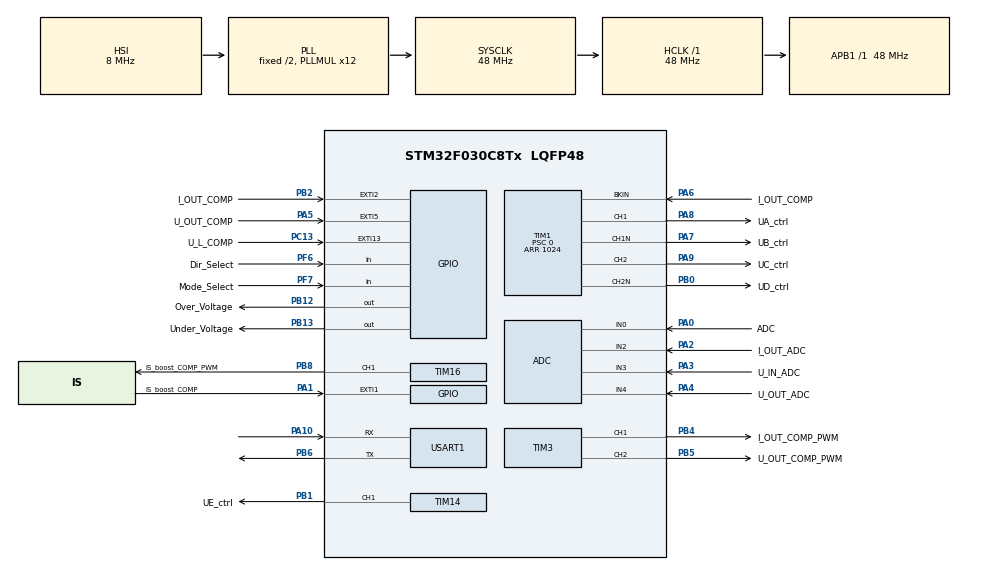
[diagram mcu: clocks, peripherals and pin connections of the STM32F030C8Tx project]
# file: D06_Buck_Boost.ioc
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ADC.ClockPrescaler=ADC_CLOCK_ASYNC_DIV1
ADC.ContinuousConvMode=ENABLE
ADC.DMAContinuousRequests=ENABLE
ADC.EOCSelection=ADC_EOC_SINGLE_CONV
ADC.SamplingTime=ADC_SAMPLETIME_239CYCLES_5
Dma.ADC.0.Direction=DMA_PERIPH_TO_MEMORY
Dma.ADC.0.Instance=DMA1_Channel1
Dma.ADC.0.MemDataAlignment=DMA_MDATAALIGN_HALFWORD
Dma.ADC.0.MemInc=DMA_MINC_ENABLE
Dma.ADC.0.Mode=DMA_CIRCULAR
Dma.ADC.0.PeriphDataAlignment=DMA_PDATAALIGN_HALFWORD
Dma.ADC.0.PeriphInc=DMA_PINC_DISABLE
Dma.ADC.0.Priority=DMA_PRIORITY_LOW
Dma.Request0=ADC
Mcu.Family=STM32F0
Mcu.Name=STM32F030C8Tx
Mcu.Package=LQFP48
NVIC.DMA1_Channel1_IRQn=true\:0\:0\:false\:false\:true\:false\:true
NVIC.TIM1_BRK_UP_TRG_COM_IRQn=true\:0\:0\:false\:false\:true\:true\:true
PA0.GPIO_Label=ADC
PA0.Mode=IN0
PA0.Signal=ADC_IN0
PA1.GPIO_Label=IS_boost_COMP
PA1.Signal=GPXTI1
PA10.Mode=Asynchronous
PA10.Signal=USART1_RX
PA13.Mode=Serial_Wire
PA13.Signal=SYS_SWDIO
PA14.Mode=Serial_Wire
PA14.Signal=SYS_SWCLK
PA2.GPIO_Label=I_OUT_ADC
PA2.Mode=IN2
PA2.Signal=ADC_IN2
PA3.GPIO_Label=U_IN_ADC
PA3.Mode=IN3
PA3.Signal=ADC_IN3
PA4.GPIO_Label=U_OUT_ADC
PA4.Mode=IN4
PA4.Signal=ADC_IN4
PA5.GPIO_Label=U_OUT_COMP
PA5.Signal=GPXTI5
PA6.GPIO_Label=I_OUT_COMP
PA6.Mode=Activate-Break-Input
PA6.Signal=TIM1_BKIN
PA7.GPIO_Label=UB_ctrl
PA7.Mode=PWM Generation1 CH1 CH1N
PA7.Signal=TIM1_CH1N
PA8.GPIO_Label=UA_ctrl
PA8.Signal=S_TIM1_CH1
PA9.GPIO_Label=UC_ctrl
PA9.Signal=S_TIM1_CH2
PB0.GPIO_Label=UD_ctrl
PB0.Mode=PWM Generation2 CH2 CH2N
PB0.Signal=TIM1_CH2N
PB1.GPIO_Label=UE_ctrl
PB1.Signal=S_TIM14_CH1
PB12.GPIO_Label=Over_Voltage
PB12.Signal=GPIO_Output
PB13.GPIO_Label=Under_Voltage
PB13.Signal=GPIO_Output
PB2.GPIO_Label=I_OUT_COMP
PB2.Signal=GPXTI2
PB4.GPIO_Label=I_OUT_COMP_PWM
PB4.Signal=S_TIM3_CH1
PB5.GPIO_Label=U_OUT_COMP_PWM
PB5.Signal=S_TIM3_CH2
PB6.Mode=Asynchronous
PB6.Signal=USART1_TX
PB8.GPIO_Label=IS_boost_COMP_PWM
PB8.Signal=S_TIM16_CH1
PC13.GPIO_Label=U_L_COMP
PC13.Signal=GPXTI13
PF6.GPIO_Label=Dir_Select
PF6.Signal=GPIO_Input
PF7.GPIO_Label=Mode_Select
PF7.Signal=GPIO_Input
ProjectManager.HeapSize=0x200
ProjectManager.StackSize=0x400
ProjectManager.TargetToolchain=STM32CubeIDE
RCC.AHBFreq_Value=48000000
RCC.APB1Freq_Value=48000000
RCC.APB1TimFreq_Value=48000000
RCC.HCLKFreq_Value=48000000
RCC.PLLMUL=RCC_PLL_MUL12
RCC.SYSCLKFreq_VALUE=48000000
RCC.SYSCLKSource=RCC_SYSCLKSOURCE_PLLCLK
SH.S_TIM14_CH1.0=TIM14_CH1,PWM Generation1 CH1
SH.S_TIM16_CH1.0=TIM16_CH1,PWM Generation1 CH1
SH.S_TIM1_CH1.0=TIM1_CH1,PWM Generation1 CH1 CH1N
SH.S_TIM1_CH2.0=TIM1_CH2,PWM Generation2 CH2 CH2N
SH.S_TIM3_CH1.0=TIM3_CH1,PWM Generation1 CH1
SH.S_TIM3_CH2.0=TIM3_CH2,PWM Generation2 CH2
TIM1.AutomaticOutput=TIM_AUTOMATICOUTPUT_DISABLE
TIM1.Channel-PWM\ Generation1\ CH1\ CH1N=TIM_CHANNEL_1
TIM1.Channel-PWM\ Generation2\ CH2\ CH2N=TIM_CHANNEL_2
TIM1.DeadTime=128
TIM1.LockLevel=TIM_LOCKLEVEL_OFF
TIM1.OffStateIDLEMode=TIM_OSSI_DISABLE
TIM1.OffStateRunMode=TIM_OSSR_DISABLE
TIM1.Period=1024
TIM1.Prescaler=0
TIM1.Pulse-PWM\ Generation1\ CH1\ CH1N=0
TIM14.Channel=TIM_CHANNEL_1
TIM14.Period=1024
TIM14.Pulse=1024
TIM16.Channel=TIM_CHANNEL_1
TIM3.Channel-PWM\ Generation1\ CH1=TIM_CHANNEL_1
TIM3.Channel-PWM\ Generation2\ CH2=TIM_CHANNEL_2
TIM3.Channel-PWM\ Generation3\ CH3=TIM_CHANNEL_3
USART1.VirtualMode-Asynchronous=VM_ASYNC
VP_TIM14_VS_ClockSourceINT.Mode=Enable_Timer
VP_TIM16_VS_ClockSourceINT.Mode=Enable_Timer
board=custom

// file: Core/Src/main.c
/* USER CODE BEGIN Header */
/**
  ******************************************************************************
  * @file           : main.c
  * @brief          : Main program body
  ******************************************************************************
  * @attention
  *
  * <h2><center>&copy; Copyright (c) 2021 STMicroelectronics.
  * All rights reserved.</center></h2>
  *
  * This software component is licensed by ST under BSD 3-Clause license,
  * the "License"; You may not use this file except in compliance with the
  * License. You may obtain a copy of the License at:
  *                        opensource.org/licenses/BSD-3-Clause
  *
  ******************************************************************************
  */
/* USER CODE END Header */
#include "main.h"
#include "adc.h"
#include "dma.h"
#include "tim.h"
#include "usart.h"
#include "gpio.h"

/* USER CODE BEGIN PV */
	uint16_t adc_buff[4];
	float U_A_Side 		= 0;
	float U_B_Side 		= 0;
	float I_B_Side 		= 0;
	float U_Input		= 0;
	float vref			= 0;
	float vin			= 0;
	float vout			= 0;
	float iout			= 0;
	float error			= 0;
	float errorI		= 0;
	float vL 			= 0;
	float vH 			= 0;
	float vM			= 0;
	float vboost		= 0;
	float vbuck			= 0;
	uint16_t pwmbuck	= 0;
	uint16_t pwmboost	= 0;
	uint8_t mode 	 	= 0;
	uint8_t direction	= 0;
/* USER CODE END PV */

void SystemClock_Config(void);
/* USER CODE BEGIN PFP */
float mapFloat(float x, float in_min, float in_max, float out_min, float out_max) {
	return (x - in_min) * (out_max - out_min) / (in_max - in_min) + out_min;
}
long map(long x, long in_min, long in_max, long out_min, long out_max) {
	return (x - in_min) * (out_max - out_min) / (in_max - in_min) + out_min;
}
long mapBound(long x, long in_min, long in_max, long out_min, long out_max) {
	if (x > in_max) return out_max;
	else if (x < in_min) return out_min;
	else return (x - in_min) * (out_max - out_min) / (in_max - in_min) + out_min;
}
void HAL_ADC_ConvCpltCallback(ADC_HandleTypeDef* hadc)
{
	U_Input		= (adc_buff[0] * 0.00080566); // from 0 to 3.2991777 V
	I_B_Side 	= (adc_buff[1] * 0.00080566) / 0.33;
	U_A_Side	= (adc_buff[2] * 0.00080566) * 11;
	U_B_Side	= (adc_buff[3] * 0.00080566) * 15.70588235;
}
void ADC_SetActiveChannel(ADC_HandleTypeDef *hadc, uint32_t AdcChannel)
{
  ADC_ChannelConfTypeDef sConfig = {0};
  sConfig.Channel = AdcChannel;
  sConfig.Rank = 1;
  sConfig.SamplingTime = ADC_SAMPLETIME_239CYCLES_5;
  if (HAL_ADC_ConfigChannel(hadc, &sConfig) != HAL_OK)
  {
   Error_Handler();
  }
}
/* USER CODE END PFP */

int main(void)
{

  /* MCU Configuration--------------------------------------------------------*/

  /* Reset of all peripherals, Initializes the Flash interface and the Systick. */
  HAL_Init();

  /* Configure the system clock */
  SystemClock_Config();

  /* USER CODE BEGIN SysInit */
  MX_GPIO_Init();
  MX_TIM1_Init();
  MX_DMA_Init();		// Before ADC_Init !!
  MX_ADC_Init();
  MX_TIM14_Init();
  MX_TIM3_Init();
  MX_TIM16_Init();
  MX_USART1_UART_Init();

  HAL_Delay(100);
  HAL_ADC_Start_DMA(&hadc, (uint16_t *)adc_buff, 4);

  //lHAL_TIM_PWM_Start(&htim14, TIM_CHANNEL_1);

  HAL_TIM_PWM_Start(&htim1, TIM_CHANNEL_1);
  HAL_TIM_PWM_Start(&htim1, TIM_CHANNEL_2);
  HAL_TIMEx_PWMN_Start(&htim1, TIM_CHANNEL_1); // turn on complementary channel
  HAL_TIMEx_PWMN_Start(&htim1, TIM_CHANNEL_2); // turn on complementary channel

  float P = 0.1;
  float I = 0.1;
  float D = 0;

  direction = HAL_GPIO_ReadPin(Dir_Select_GPIO_Port, Dir_Select_Pin);
  mode 		= HAL_GPIO_ReadPin(Mode_Select_GPIO_Port, Mode_Select_Pin);

  while (1)
  {
	  // WORKING STEP-DOWN OPEN LOOP
	  //uint16_t vref = (adc_buff[0]/4 - 512) * 2; // 0 to 1023
	  //if (vref < 0 ) vref = 0;
	  //if (vref > (1023 - 256)) vref = 1023 - 256;	// -256 cause bootstrap voltage
	  //__HAL_TIM_SET_COMPARE(&htim1, TIM_CHANNEL_1, vref );
	  //HAL_Delay(100);

	  // PROGRESS STEP-DOWN CLOSE LOOP
	  //vref = adc_buff[0];

	  vH	= 600;
	  vL	= 000;
	  vM 	= 500;
	  vref 	= map(adc_buff[0],0,4095,0,2500);		// 0(0) - 24V(2500) divided to 0(0) - 3.3V(4095)
	  iout  = map(adc_buff[1],0,4095,0,10000);		// 0(0) - 10A(1000) divided to 0(0) - 3.3V(4095)
	  if (direction == 0){
		  vin	= map(adc_buff[2],0,4095,0,3630);		// 0(0) - 36.3V(3630) divided to 0(0) - 3.3V(4095)
		  vout 	= map(adc_buff[3],0,4095,0,5183);		// 0(0) - 51.83V(5183) divided to 0(0) - 3.3V(4095)
	  }else {
		  vout	= map(adc_buff[2],0,4095,0,3630);		// 0(0) - 36.3V(3630) divided to 0(0) - 3.3V(4095)
		  vin 	= map(adc_buff[3],0,4095,0,5183);		// 0(0) - 51.83V(5183) divided to 0(0) - 3.3V(4095)
	  }
	  // Error calculation
	  error	= vref - vout;
	  errorI += error;

	  vbuck = error * P + errorI * I;
	  vboost = vbuck - vM;

	  pwmbuck 	= mapBound(vbuck,vL,vH,0,1023 - 256);	// SAFETY - T1 bootstrap voltage
	  pwmboost  = mapBound(vboost,vL,vH,0,1023 - 256);	// SAFETY - T3 bootstrap voltage, boost max output voltage

	  if (direction == 0){
		  __HAL_TIM_SET_COMPARE(&htim1, TIM_CHANNEL_1, pwmbuck );
		  __HAL_TIM_SET_COMPARE(&htim1, TIM_CHANNEL_2, pwmboost );
	  }else {
		  __HAL_TIM_SET_COMPARE(&htim1, TIM_CHANNEL_2, 1023 - pwmbuck );
		  __HAL_TIM_SET_COMPARE(&htim1, TIM_CHANNEL_1, 1023 - pwmboost);
	  }

	  ///////////////
	  if (vin < 1000){
		    errorI = 0;
		  HAL_GPIO_WritePin(Under_Voltage_GPIO_Port, Under_Voltage_Pin, 1);
	  } else HAL_GPIO_WritePin(Under_Voltage_GPIO_Port, Under_Voltage_Pin, 0);
	  if (vin > 2500){
		  HAL_GPIO_WritePin(Over_Voltage_GPIO_Port, Over_Voltage_Pin, 1);
	  } else HAL_GPIO_WritePin(Over_Voltage_GPIO_Port, Over_Voltage_Pin, 0);
	  HAL_Delay(1);
  }
  return 0;
  /*########################################################*/
  /* USER CODE END SysInit */

  /* Initialize all configured peripherals */
  MX_GPIO_Init();
  MX_TIM1_Init();
  MX_ADC_Init();
  MX_TIM14_Init();
  MX_TIM3_Init();
  MX_TIM16_Init();
  MX_DMA_Init();
  MX_USART1_UART_Init();

  /* Infinite loop */

}

void SystemClock_Config(void)
{
  RCC_OscInitTypeDef RCC_OscInitStruct = {0};
  RCC_ClkInitTypeDef RCC_ClkInitStruct = {0};
  RCC_PeriphCLKInitTypeDef PeriphClkInit = {0};

  /** Initializes the RCC Oscillators according to the specified parameters
  * in the RCC_OscInitTypeDef structure.
  */
  RCC_OscInitStruct.OscillatorType = RCC_OSCILLATORTYPE_HSI|RCC_OSCILLATORTYPE_HSI14;
  RCC_OscInitStruct.HSIState = RCC_HSI_ON;
  RCC_OscInitStruct.HSI14State = RCC_HSI14_ON;
  RCC_OscInitStruct.HSICalibrationValue = RCC_HSICALIBRATION_DEFAULT;
  RCC_OscInitStruct.HSI14CalibrationValue = 16;
  RCC_OscInitStruct.PLL.PLLState = RCC_PLL_ON;
  RCC_OscInitStruct.PLL.PLLSource = RCC_PLLSOURCE_HSI;
  RCC_OscInitStruct.PLL.PLLMUL = RCC_PLL_MUL12;
  RCC_OscInitStruct.PLL.PREDIV = RCC_PREDIV_DIV1;
  if (HAL_RCC_OscConfig(&RCC_OscInitStruct) != HAL_OK)
  {
    Error_Handler();
  }
  /** Initializes the CPU, AHB and APB buses clocks
  */
  RCC_ClkInitStruct.ClockType = RCC_CLOCKTYPE_HCLK|RCC_CLOCKTYPE_SYSCLK
                              |RCC_CLOCKTYPE_PCLK1;
  RCC_ClkInitStruct.SYSCLKSource = RCC_SYSCLKSOURCE_PLLCLK;
  RCC_ClkInitStruct.AHBCLKDivider = RCC_SYSCLK_DIV1;
  RCC_ClkInitStruct.APB1CLKDivider = RCC_HCLK_DIV1;

  if (HAL_RCC_ClockConfig(&RCC_ClkInitStruct, FLASH_LATENCY_1) != HAL_OK)
  {
    Error_Handler();
  }
  PeriphClkInit.PeriphClockSelection = RCC_PERIPHCLK_USART1;
  PeriphClkInit.Usart1ClockSelection = RCC_USART1CLKSOURCE_PCLK1;
  if (HAL_RCCEx_PeriphCLKConfig(&PeriphClkInit) != HAL_OK)
  {
    Error_Handler();
  }
}

void Error_Handler(void)
{
  __disable_irq();
  while (1)
  {
  }
}

/************************ (C) COPYRIGHT STMicroelectronics *****END OF FILE****/
